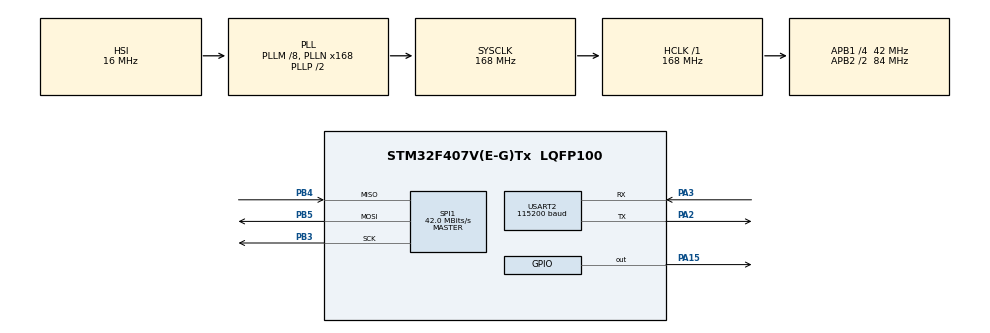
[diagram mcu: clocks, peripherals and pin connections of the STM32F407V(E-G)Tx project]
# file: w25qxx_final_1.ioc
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Mcu.Family=STM32F4
Mcu.Name=STM32F407V(E-G)Tx
Mcu.Package=LQFP100
NVIC.PriorityGroup=NVIC_PRIORITYGROUP_4
PA13.Mode=Serial_Wire
PA13.Signal=SYS_JTMS-SWDIO
PA14.Mode=Serial_Wire
PA14.Signal=SYS_JTCK-SWCLK
PA15.Signal=GPIO_Output
PA2.Mode=Asynchronous
PA2.Signal=USART2_TX
PA3.Mode=Asynchronous
PA3.Signal=USART2_RX
PB3.Mode=Full_Duplex_Master
PB3.Signal=SPI1_SCK
PB4.Mode=Full_Duplex_Master
PB4.Signal=SPI1_MISO
PB5.Mode=Full_Duplex_Master
PB5.Signal=SPI1_MOSI
PC14-OSC32_IN.Mode=LSE-External-Oscillator
PC14-OSC32_IN.Signal=RCC_OSC32_IN
PC15-OSC32_OUT.Mode=LSE-External-Oscillator
PC15-OSC32_OUT.Signal=RCC_OSC32_OUT
PH0-OSC_IN.Mode=HSE-External-Oscillator
PH0-OSC_IN.Signal=RCC_OSC_IN
PH1-OSC_OUT.Mode=HSE-External-Oscillator
PH1-OSC_OUT.Signal=RCC_OSC_OUT
ProjectManager.HeapSize=0x200
ProjectManager.StackSize=0x400
ProjectManager.TargetToolchain=STM32CubeIDE
RCC.48MHZClocksFreq_Value=84000000
RCC.AHBFreq_Value=168000000
RCC.APB1CLKDivider=RCC_HCLK_DIV4
RCC.APB1Freq_Value=42000000
RCC.APB1TimFreq_Value=84000000
RCC.APB2CLKDivider=RCC_HCLK_DIV2
RCC.APB2Freq_Value=84000000
RCC.APB2TimFreq_Value=168000000
RCC.CortexFreq_Value=168000000
RCC.HCLKFreq_Value=168000000
RCC.HSE_VALUE=8000000
RCC.HSI_VALUE=16000000
RCC.PLLM=8
RCC.PLLN=168
RCC.SYSCLKFreq_VALUE=168000000
RCC.SYSCLKSource=RCC_SYSCLKSOURCE_PLLCLK
RCC.VCOOutputFreq_Value=336000000
SPI1.BaudRatePrescaler=SPI_BAUDRATEPRESCALER_2
SPI1.CalculateBaudRate=42.0 MBits/s
SPI1.Direction=SPI_DIRECTION_2LINES
SPI1.Mode=SPI_MODE_MASTER
SPI1.VirtualType=VM_MASTER
USART2.BaudRate=115200
USART2.VirtualMode=VM_ASYNC
USART2.WordLength=WORDLENGTH_8B
board=custom

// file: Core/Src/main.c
                                       /* USER CODE BEGIN Header */
/**
  ******************************************************************************
  * @file           : main.c
  * @brief          : Main program body
  ******************************************************************************
  * @attention
  *
  * Copyright (c) 2025 STMicroelectronics.
  * All rights reserved.
  *
  * This software is licensed under terms that can be found in the LICENSE file
  * in the root directory of this software component.
  * If no LICENSE file comes with this software, it is provided AS-IS.
  *
  ******************************************************************************
  */
/* USER CODE END Header */
#include <w25qxx_flash.h>
#include "main.h"

/* USER CODE BEGIN Includes */
#include "driver_w25qxx.h"
#include "print_active.h"
#include "flash_addrs.h"
/* USER CODE END Includes */

SPI_HandleTypeDef hspi1;

UART_HandleTypeDef huart2;

void SystemClock_Config(void);
static void MX_GPIO_Init(void);
static void MX_SPI1_Init(void);
static void MX_USART2_UART_Init(void);

int main(void)
{

  /* MCU Configuration--------------------------------------------------------*/

  /* Reset of all peripherals, Initializes the Flash interface and the Systick. */
  HAL_Init();

  /* Configure the system clock */
  SystemClock_Config();

  /* Initialize all configured peripherals */
  MX_GPIO_Init();
  MX_SPI1_Init();
  MX_USART2_UART_Init();
  /* USER CODE BEGIN 2 */
  w25qxx_interface_debug_print("\r\n[FLASH APP START]\r\n");

      if (flash_init() != 0)
      {
          w25qxx_interface_debug_print("Flash init failed!\r\n");
          while (1);
      }

      // --- Step 1: Write to RAM cache (do NOT read before write) ---

      flash_write(FLASH_ADDR_DEVICE_ID, 0x32ABC42);
      flash_write(FLASH_ADDR_LOG_COUNT, 1);
      flash_write(FLASH_ADDR_FLAGS, 0xCAF123E);
      flash_write_float(kp, 3.1234);
      // --- Step 2: Flush cache to flash ---
      if (flash_flush() == 0)
      {
          w25qxx_interface_debug_print("Flash flushed successfully.\r\n");
      }
      else
      {
          w25qxx_interface_debug_print("Flash flush failed.\r\n");
          while (1);
      }

      // --- Step 3: Reload cache from flash to confirm data ---
      flash_load_cache();  // this calls flash_load_cache()
      //flash_cleanup();

      uint32_t val = 0;
      float valf = 0.f;

      flash_read(FLASH_ADDR_DEVICE_ID, &val);
      w25qxx_interface_debug_print("Device ID    : 0x%08lX\r\n", val);

      flash_read(FLASH_ADDR_LOG_COUNT, &val);
      w25qxx_interface_debug_print("Log Count    : %lu\r\n", val);

      flash_read(FLASH_ADDR_FLAGS, &val);
      w25qxx_interface_debug_print("Flags        : 0x%08lX\r\n", val);

      flash_read_float(kp,&valf);
      w25qxx_interface_debug_print("kp        : %f\r\n", valf);

      w25qxx_interface_debug_print("[FLASH APP DONE]\r\n");

  /* USER CODE END 2 */

  /* Infinite loop */
  /* USER CODE BEGIN WHILE */

  while (1)
  {
//	HAL_UART_Transmit(&huart2, (uint8_t*)msg, sizeof(msg), HAL_MAX_DELAY);

    /* USER CODE END WHILE */

  }
}

void SystemClock_Config(void)
{
  RCC_OscInitTypeDef RCC_OscInitStruct = {0};
  RCC_ClkInitTypeDef RCC_ClkInitStruct = {0};

  /** Configure the main internal regulator output voltage
  */
  __HAL_RCC_PWR_CLK_ENABLE();
  __HAL_PWR_VOLTAGESCALING_CONFIG(PWR_REGULATOR_VOLTAGE_SCALE1);

  /** Initializes the RCC Oscillators according to the specified parameters
  * in the RCC_OscInitTypeDef structure.
  */
  RCC_OscInitStruct.OscillatorType = RCC_OSCILLATORTYPE_HSI;
  RCC_OscInitStruct.HSIState = RCC_HSI_ON;
  RCC_OscInitStruct.HSICalibrationValue = RCC_HSICALIBRATION_DEFAULT;
  RCC_OscInitStruct.PLL.PLLState = RCC_PLL_ON;
  RCC_OscInitStruct.PLL.PLLSource = RCC_PLLSOURCE_HSI;
  RCC_OscInitStruct.PLL.PLLM = 8;
  RCC_OscInitStruct.PLL.PLLN = 168;
  RCC_OscInitStruct.PLL.PLLP = RCC_PLLP_DIV2;
  RCC_OscInitStruct.PLL.PLLQ = 4;
  if (HAL_RCC_OscConfig(&RCC_OscInitStruct) != HAL_OK)
  {
    Error_Handler();
  }

  /** Initializes the CPU, AHB and APB buses clocks
  */
  RCC_ClkInitStruct.ClockType = RCC_CLOCKTYPE_HCLK|RCC_CLOCKTYPE_SYSCLK
                              |RCC_CLOCKTYPE_PCLK1|RCC_CLOCKTYPE_PCLK2;
  RCC_ClkInitStruct.SYSCLKSource = RCC_SYSCLKSOURCE_PLLCLK;
  RCC_ClkInitStruct.AHBCLKDivider = RCC_SYSCLK_DIV1;
  RCC_ClkInitStruct.APB1CLKDivider = RCC_HCLK_DIV4;
  RCC_ClkInitStruct.APB2CLKDivider = RCC_HCLK_DIV2;

  if (HAL_RCC_ClockConfig(&RCC_ClkInitStruct, FLASH_LATENCY_5) != HAL_OK)
  {
    Error_Handler();
  }
}

static void MX_SPI1_Init(void)
{

  /* SPI1 parameter configuration*/
  hspi1.Instance = SPI1;
  hspi1.Init.Mode = SPI_MODE_MASTER;
  hspi1.Init.Direction = SPI_DIRECTION_2LINES;
  hspi1.Init.DataSize = SPI_DATASIZE_8BIT;
  hspi1.Init.CLKPolarity = SPI_POLARITY_LOW;
  hspi1.Init.CLKPhase = SPI_PHASE_1EDGE;
  hspi1.Init.NSS = SPI_NSS_SOFT;
  hspi1.Init.BaudRatePrescaler = SPI_BAUDRATEPRESCALER_2;
  hspi1.Init.FirstBit = SPI_FIRSTBIT_MSB;
  hspi1.Init.TIMode = SPI_TIMODE_DISABLE;
  hspi1.Init.CRCCalculation = SPI_CRCCALCULATION_DISABLE;
  hspi1.Init.CRCPolynomial = 10;
  if (HAL_SPI_Init(&hspi1) != HAL_OK)
  {
    Error_Handler();
  }

}

static void MX_USART2_UART_Init(void)
{

  huart2.Instance = USART2;
  huart2.Init.BaudRate = 115200;
  huart2.Init.WordLength = UART_WORDLENGTH_8B;
  huart2.Init.StopBits = UART_STOPBITS_1;
  huart2.Init.Parity = UART_PARITY_NONE;
  huart2.Init.Mode = UART_MODE_TX_RX;
  huart2.Init.HwFlowCtl = UART_HWCONTROL_NONE;
  huart2.Init.OverSampling = UART_OVERSAMPLING_16;
  if (HAL_UART_Init(&huart2) != HAL_OK)
  {
    Error_Handler();
  }

}

static void MX_GPIO_Init(void)
{
  GPIO_InitTypeDef GPIO_InitStruct = {0};

  /* GPIO Ports Clock Enable */
  __HAL_RCC_GPIOC_CLK_ENABLE();
  __HAL_RCC_GPIOH_CLK_ENABLE();
  __HAL_RCC_GPIOA_CLK_ENABLE();
  __HAL_RCC_GPIOB_CLK_ENABLE();

  /*Configure GPIO pin Output Level */
  HAL_GPIO_WritePin(GPIOA, GPIO_PIN_15, GPIO_PIN_RESET);

  /*Configure GPIO pin : PA15 */
  GPIO_InitStruct.Pin = GPIO_PIN_15;
  GPIO_InitStruct.Mode = GPIO_MODE_OUTPUT_PP;
  GPIO_InitStruct.Pull = GPIO_NOPULL;
  GPIO_InitStruct.Speed = GPIO_SPEED_FREQ_LOW;
  HAL_GPIO_Init(GPIOA, &GPIO_InitStruct);

}

void Error_Handler(void)
{
  __disable_irq();
  while (1)
  {
  }
}
